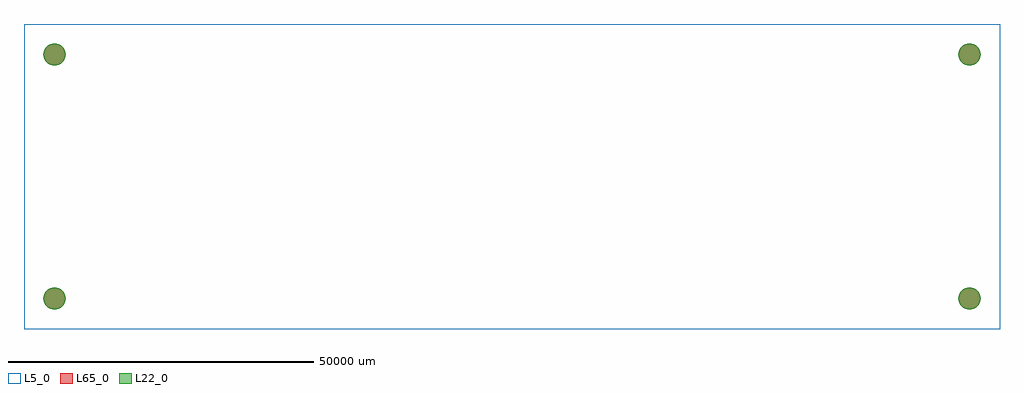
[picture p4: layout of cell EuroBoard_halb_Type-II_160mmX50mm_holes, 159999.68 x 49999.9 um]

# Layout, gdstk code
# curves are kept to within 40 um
import gdstk
lib = gdstk.Library(unit=1e-6, precision=1e-09)
def R(c, l, rs):  # rectangles x0, y0, x1, y1
    for r in rs: c.add(gdstk.rectangle(r[:2], r[2:], *l))
def P(c, l, *ps):  # polygons
    for p in ps: c.add(gdstk.Polygon(p, *l))
L5_0 = (5, 0)
L22_0 = (22, 0)
L65_0 = (65, 0)

euroboard_halb_type_ii_1 = lib.new_cell('EuroBoard_halb_Type-II_160mmX50mm_holes')
R(euroboard_halb_type_ii_1, L5_0, [(0,0,159999.68,49999.9)])
P(euroboard_halb_type_ii_1, L22_0, [(156826.02,5001.26),(156687.096,5699.68),(156291.472,6291.772),(155699.38,6687.396),(155000.96,6826.32),(154302.54,6687.396),(153710.448,6291.772),(153314.824,5699.68),(153175.9,5001.26),(153314.824,4302.84),(153710.448,3710.748),(154302.54,3315.124),(155000.96,3176.2),(155699.38,3315.124),(156291.472,3710.748),(156687.096,4302.84)],
  [(156826.02,45001.18),(156687.096,45699.6),(156291.472,46291.692),(155699.38,46687.316),(155000.96,46826.24),(154302.54,46687.316),(153710.448,46291.692),(153314.824,45699.6),(153175.9,45001.18),(153314.824,44302.76),(153710.448,43710.668),(154302.54,43315.044),(155000.96,43176.12),(155699.38,43315.044),(156291.472,43710.668),(156687.096,44302.76)],
  [(6826.32,45001.18),(6687.396,45699.6),(6291.772,46291.692),(5699.68,46687.316),(5001.26,46826.24),(4302.84,46687.316),(3710.748,46291.692),(3315.124,45699.6),(3176.2,45001.18),(3315.124,44302.76),(3710.748,43710.668),(4302.84,43315.044),(5001.26,43176.12),(5699.68,43315.044),(6291.772,43710.668),(6687.396,44302.76)],
  [(6826.32,5001.26),(6687.396,5699.68),(6291.772,6291.772),(5699.68,6687.396),(5001.26,6826.32),(4302.84,6687.396),(3710.748,6291.772),(3315.124,5699.68),(3176.2,5001.26),(3315.124,4302.84),(3710.748,3710.748),(4302.84,3315.124),(5001.26,3176.2),(5699.68,3315.124),(6291.772,3710.748),(6687.396,4302.84)])
P(euroboard_halb_type_ii_1, L65_0, [(156826.02,5001.26),(156687.096,5699.68),(156291.472,6291.772),(155699.38,6687.396),(155000.96,6826.32),(154302.54,6687.396),(153710.448,6291.772),(153314.824,5699.68),(153175.9,5001.26),(153314.824,4302.84),(153710.448,3710.748),(154302.54,3315.124),(155000.96,3176.2),(155699.38,3315.124),(156291.472,3710.748),(156687.096,4302.84)],
  [(156826.02,45001.18),(156687.096,45699.6),(156291.472,46291.692),(155699.38,46687.316),(155000.96,46826.24),(154302.54,46687.316),(153710.448,46291.692),(153314.824,45699.6),(153175.9,45001.18),(153314.824,44302.76),(153710.448,43710.668),(154302.54,43315.044),(155000.96,43176.12),(155699.38,43315.044),(156291.472,43710.668),(156687.096,44302.76)],
  [(6826.32,45001.18),(6687.396,45699.6),(6291.772,46291.692),(5699.68,46687.316),(5001.26,46826.24),(4302.84,46687.316),(3710.748,46291.692),(3315.124,45699.6),(3176.2,45001.18),(3315.124,44302.76),(3710.748,43710.668),(4302.84,43315.044),(5001.26,43176.12),(5699.68,43315.044),(6291.772,43710.668),(6687.396,44302.76)],
  [(6826.32,5001.26),(6687.396,5699.68),(6291.772,6291.772),(5699.68,6687.396),(5001.26,6826.32),(4302.84,6687.396),(3710.748,6291.772),(3315.124,5699.68),(3176.2,5001.26),(3315.124,4302.84),(3710.748,3710.748),(4302.84,3315.124),(5001.26,3176.2),(5699.68,3315.124),(6291.772,3710.748),(6687.396,4302.84)])
euroboard_halb_type_ii_1.add(gdstk.Label('type', (78000.86,-5999.48), layer=9, texttype=0))
euroboard_halb_type_ii_1.add(gdstk.Label('devicename', (77000.1,54000.4), layer=9, texttype=0))

lib.write_gds('EuroBoard_halb_Type-II_160mmX50mm_holes.gds')
